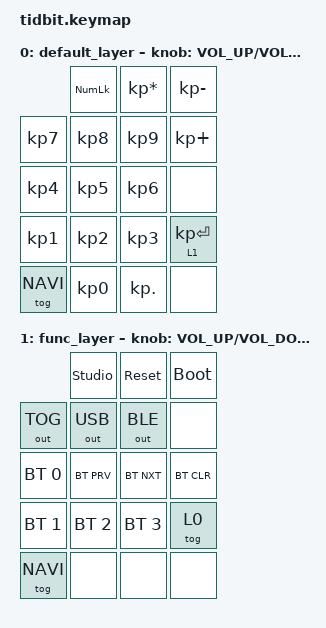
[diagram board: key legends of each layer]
/*
 * Copyright (c) 2020 The ZMK Contributors
 *
 * SPDX-License-Identifier: MIT
 */
#include <behaviors.dtsi>
#include <dt-bindings/zmk/bt.h>
#include <dt-bindings/zmk/outputs.h>
#include <dt-bindings/zmk/keys.h>
#include "tidbit.dtsi"


#define DEFAULT 0
#define NAVI    1
#define NONE 0

&encoder_1_top_row {
	status = "okay";
};

/ {
	sensors {
		compatible = "zmk,keymap-sensors";
		sensors = <&encoder_1_top_row>;
	};

	keymap {
		compatible = "zmk,keymap";
		bindings = <
    			&none &kp KP_NUMLOCK  &kp KP_ASTERISK &kp KP_MINUS
    			&kp KP_NUMBER_7 &kp KP_NUMBER_8 &kp KP_NUMBER_9 &kp KP_PLUS
   			&kp KP_NUMBER_4 &kp KP_NUMBER_5 &kp KP_NUMBER_6 &none
    			&kp KP_NUMBER_1 &kp KP_NUMBER_2 &kp KP_NUMBER_3 &lt 1 KP_ENTER
    			&tog NAVI &kp KP_NUMBER_0 &kp KP_DOT &none
    			&none  // Encoder
		>;
		
		default_layer {
			bindings = <
								&kp KP_NUMLOCK  &kp KP_ASTERISK &kp KP_MINUS
				&kp KP_NUMBER_7 &kp KP_NUMBER_8 &kp KP_NUMBER_9 &kp KP_PLUS
				&kp KP_NUMBER_4 &kp KP_NUMBER_5 &kp KP_NUMBER_6 &none
				&kp KP_NUMBER_1 &kp KP_NUMBER_2 &kp KP_NUMBER_3 &lt 1 KP_ENTER
				&tog NAVI           &kp KP_NUMBER_0 &kp KP_DOT      &none
			>;
			sensor-bindings = <&inc_dec_kp C_VOLUME_UP C_VOLUME_DOWN>;
		};
		
		func_layer {
			bindings = <
								&studio_unlock           &sys_reset          &bootloader
				&out OUT_TOG    &out OUT_USB    &out OUT_BLE    &none
				&bt BT_SEL 0    &bt BT_PRV      &bt BT_NXT      &bt BT_CLR
				&bt BT_SEL 1    &bt BT_SEL 2    &bt BT_SEL 3    &tog 0
				&tog NAVI      &none           &none           &none
			>;
			sensor-bindings = <&inc_dec_kp C_VOLUME_UP C_VOLUME_DOWN>;
		};
	};
};
